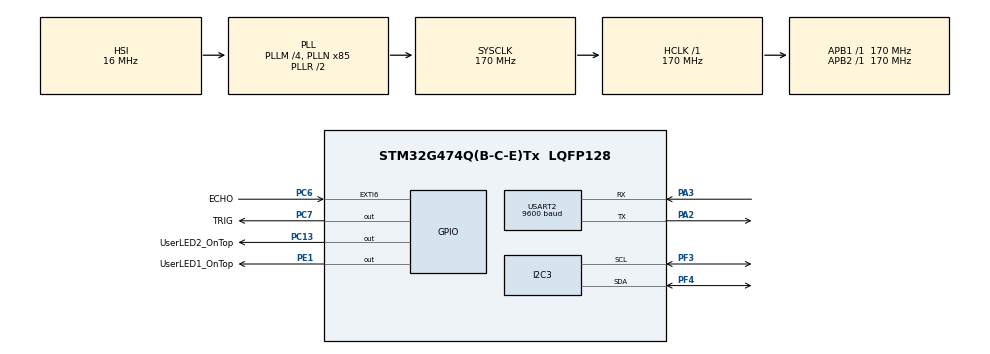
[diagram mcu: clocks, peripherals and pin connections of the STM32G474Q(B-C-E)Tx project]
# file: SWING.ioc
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I2C3.Timing=0x40B285C2
Mcu.Family=STM32G4
Mcu.Name=STM32G474Q(B-C-E)Tx
Mcu.Package=LQFP128
NVIC.EXTI9_5_IRQn=true\:0\:0\:false\:false\:true\:true\:true\:true
NVIC.I2C3_EV_IRQn=true\:0\:0\:false\:false\:true\:true\:true\:true
NVIC.PriorityGroup=NVIC_PRIORITYGROUP_4
NVIC.TIM2_IRQn=true\:0\:0\:false\:false\:true\:true\:true\:true
NVIC.TIM4_IRQn=true\:0\:0\:false\:false\:true\:true\:true\:true
PA13.Mode=Serial_Wire
PA13.Signal=SYS_JTMS-SWDIO
PA14.Mode=Serial_Wire
PA14.Signal=SYS_JTCK-SWCLK
PA2.Mode=Asynchronous
PA2.Signal=USART2_TX
PA3.Mode=Asynchronous
PA3.Signal=USART2_RX
PC13.GPIO_Label=UserLED2_OnTop
PC13.Signal=GPIO_Output
PC6.GPIO_Label=ECHO
PC6.Signal=GPXTI6
PC7.GPIO_Label=TRIG
PC7.Signal=GPIO_Output
PE1.GPIO_Label=UserLED1_OnTop
PE1.Signal=GPIO_Output
PF0-OSC_IN.Mode=HSE-External-Oscillator
PF0-OSC_IN.Signal=RCC_OSC_IN
PF1-OSC_OUT.Mode=HSE-External-Oscillator
PF1-OSC_OUT.Signal=RCC_OSC_OUT
PF3.GPIO_Pu=GPIO_NOPULL
PF3.Mode=I2C
PF3.Signal=I2C3_SCL
PF4.GPIO_Pu=GPIO_NOPULL
PF4.Mode=I2C
PF4.Signal=I2C3_SDA
ProjectManager.HeapSize=0x200
ProjectManager.StackSize=0x400
ProjectManager.TargetToolchain=MDK-ARM V5.32
RCC.ADC12Freq_Value=170000000
RCC.ADC345Freq_Value=170000000
RCC.AHBFreq_Value=170000000
RCC.APB1Freq_Value=170000000
RCC.APB1TimFreq_Value=170000000
RCC.APB2Freq_Value=170000000
RCC.APB2TimFreq_Value=170000000
RCC.CortexFreq_Value=170000000
RCC.EXTERNAL_CLOCK_VALUE=12288000
RCC.HCLKFreq_Value=170000000
RCC.HSE_VALUE=8000000
RCC.HSI48_VALUE=48000000
RCC.HSI_VALUE=16000000
RCC.LSE_VALUE=32768
RCC.PLLM=RCC_PLLM_DIV4
RCC.PLLN=85
RCC.SYSCLKFreq_VALUE=170000000
RCC.SYSCLKSource=RCC_SYSCLKSOURCE_PLLCLK
RCC.USBFreq_Value=170000000
RCC.VCOOutputFreq_Value=340000000
TIM15.Prescaler=170-1
TIM2.PeriodNoDither=1000-1
TIM2.Prescaler=170-1
TIM4.PeriodNoDither=1000-1
TIM4.Prescaler=170-1
USART2.BaudRate=9600
USART2.VirtualMode-Asynchronous=VM_ASYNC
VP_SYS_VS_DBSignals.Mode=DisableDeadBatterySignals
VP_TIM15_VS_ClockSourceINT.Mode=Internal
VP_TIM2_VS_ClockSourceINT.Mode=Internal
VP_TIM4_VS_ClockSourceINT.Mode=Internal
board=custom

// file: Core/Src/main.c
/* USER CODE BEGIN Header */
/**
 ******************************************************************************
 * @file           : main.c
 * @brief          : Main program body
 ******************************************************************************
 * @attention
 *
 * Copyright (c) 2025 STMicroelectronics.
 * All rights reserved.
 *
 * This software is licensed under terms that can be found in the LICENSE file
 * in the root directory of this software component.
 * If no LICENSE file comes with this software, it is provided AS-IS.
 *
 ******************************************************************************
 */
/* USER CODE END Header */
#include "main.h"
#include "i2c.h"
#include "tim.h"
#include "usart.h"
#include "gpio.h"

/* USER CODE BEGIN Includes */
#include "jy901.h"
#include "delay.h"
#include "usart.h"
#include "stdio.h"
#include "string.h"
#include "JY901S_REG.h"
#include "math.h"
#include "stdlib.h"
#include "math_tool.h"

/* USER CODE END Includes */

/* USER CODE BEGIN PD */
extern int distance; // 距离mm

/* USER CODE END PD */

void SystemClock_Config(void);

int main(void)
{

    /* MCU Configuration--------------------------------------------------------*/

    /* Reset of all peripherals, Initializes the Flash interface and the Systick. */
    HAL_Init();

    /* Configure the system clock */
    SystemClock_Config();

    /* Initialize all configured peripherals */
    MX_GPIO_Init();
    MX_I2C3_Init();
    MX_TIM2_Init();
    MX_USART2_UART_Init();
    MX_TIM4_Init();
    MX_TIM15_Init();
    /* USER CODE BEGIN 2 */
    int last_GyroData = 0;

    /* USER CODE END 2 */

    /* Infinite loop */
    /* USER CODE BEGIN WHILE */
    while (1)
    {
        jy901_dire_read();
        //        // y轴角度为0附近判断为最低点
        if (AngleData.y_Pitch < 83 && AngleData.z_Yaw > 81)
        {
            // 点亮LED
            HAL_GPIO_TogglePin(UserLED1_OnTop_GPIO_Port, UserLED1_OnTop_Pin); // 点亮LED
            Uart_printf(&huart2, "LOW\r\n");
            delay_us(10); // 延迟消抖
        }
        else
        {
            // 关闭LED
            HAL_GPIO_WritePin(UserLED1_OnTop_GPIO_Port, UserLED1_OnTop_Pin, GPIO_PIN_RESET); // 关闭LED
            Uart_printf(&huart2, "angle:%f\r\n", AngleData.y_Pitch);
        }

        // y轴角速度正负变换判断为到最高点
        if (GyroData.z > 0 && last_GyroData < 0)
        {
            // 点亮LED
            HAL_GPIO_TogglePin(UserLED2_OnTop_GPIO_Port, UserLED2_OnTop_Pin); // 点亮LED
            Uart_printf(&huart2, "HIGH\r\n");
            delay_us(10); // 延迟消抖
        }
        else if (GyroData.z < 0 && last_GyroData > 0)
        {
            // 点亮LED
            HAL_GPIO_TogglePin(UserLED2_OnTop_GPIO_Port, UserLED2_OnTop_Pin); // 点亮LED
            Uart_printf(&huart2, "HIGH\r\n");
            delay_us(10); // 延迟消抖
        }
        else
        {
            // 关闭LED
            HAL_GPIO_WritePin(UserLED2_OnTop_GPIO_Port, UserLED2_OnTop_Pin, GPIO_PIN_RESET); // 关闭LED
            Uart_printf(&huart2, "Gyr:%f\r\n", GyroData.z);
        }
        last_GyroData = GyroData.z;

        // if (GyroData.z < 10 && GyroData.z > -10)
        // {
        //     // 点亮LED
        //     HAL_GPIO_WritePin(UserLED2_OnTop_GPIO_Port, UserLED2_OnTop_Pin, SET); // 点亮LED
        //     Uart_printf(&huart2, "HIGH\r\n");
        //     HAL_Delay(10); // 延迟消抖
        // }
        // else
        // {
        //     // 关闭LED
        //     HAL_GPIO_WritePin(UserLED2_OnTop_GPIO_Port, UserLED2_OnTop_Pin, RESET); // 关闭LED
        //     Uart_printf(&huart2, "Gyr:%f\r\n", GyroData.z);
        // }

        // y轴角速度正负变换判断为到最高点

        /* USER CODE END WHILE */

    }
}

void SystemClock_Config(void)
{
    RCC_OscInitTypeDef RCC_OscInitStruct = {0};
    RCC_ClkInitTypeDef RCC_ClkInitStruct = {0};

    /** Configure the main internal regulator output voltage
     */
    HAL_PWREx_ControlVoltageScaling(PWR_REGULATOR_VOLTAGE_SCALE1_BOOST);

    /** Initializes the RCC Oscillators according to the specified parameters
     * in the RCC_OscInitTypeDef structure.
     */
    RCC_OscInitStruct.OscillatorType = RCC_OSCILLATORTYPE_HSI;
    RCC_OscInitStruct.HSIState = RCC_HSI_ON;
    RCC_OscInitStruct.HSICalibrationValue = RCC_HSICALIBRATION_DEFAULT;
    RCC_OscInitStruct.PLL.PLLState = RCC_PLL_ON;
    RCC_OscInitStruct.PLL.PLLSource = RCC_PLLSOURCE_HSI;
    RCC_OscInitStruct.PLL.PLLM = RCC_PLLM_DIV4;
    RCC_OscInitStruct.PLL.PLLN = 85;
    RCC_OscInitStruct.PLL.PLLP = RCC_PLLP_DIV2;
    RCC_OscInitStruct.PLL.PLLQ = RCC_PLLQ_DIV2;
    RCC_OscInitStruct.PLL.PLLR = RCC_PLLR_DIV2;
    if (HAL_RCC_OscConfig(&RCC_OscInitStruct) != HAL_OK)
    {
        Error_Handler();
    }

    /** Initializes the CPU, AHB and APB buses clocks
     */
    RCC_ClkInitStruct.ClockType = RCC_CLOCKTYPE_HCLK | RCC_CLOCKTYPE_SYSCLK | RCC_CLOCKTYPE_PCLK1 | RCC_CLOCKTYPE_PCLK2;
    RCC_ClkInitStruct.SYSCLKSource = RCC_SYSCLKSOURCE_PLLCLK;
    RCC_ClkInitStruct.AHBCLKDivider = RCC_SYSCLK_DIV1;
    RCC_ClkInitStruct.APB1CLKDivider = RCC_HCLK_DIV1;
    RCC_ClkInitStruct.APB2CLKDivider = RCC_HCLK_DIV1;

    if (HAL_RCC_ClockConfig(&RCC_ClkInitStruct, FLASH_LATENCY_4) != HAL_OK)
    {
        Error_Handler();
    }
}

void Error_Handler(void)
{
    __disable_irq();
    while (1)
    {
    }
}
